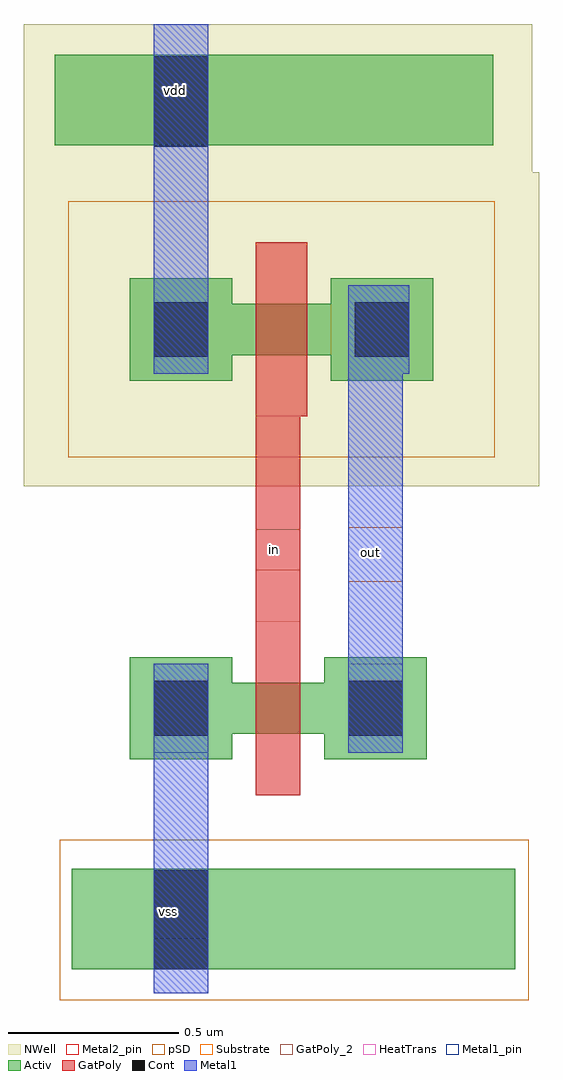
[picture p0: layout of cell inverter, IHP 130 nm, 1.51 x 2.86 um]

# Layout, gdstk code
import gdstk
lib = gdstk.Library(unit=1e-6, precision=5e-09)
def R(c, l, rs):  # rectangles x0, y0, x1, y1
    for r in rs: c.add(gdstk.rectangle(r[:2], r[2:], *l))
Activ = (1, 0)
GatPoly = (5, 0)
GatPoly_2 = (5, 2)
Cont = (6, 0)
Metal1 = (8, 0)
Metal1_pin = (8, 2)
Metal2_pin = (10, 2)
pSD = (14, 0)
NWell = (31, 0)
Substrate = (40, 0)
HeatTrans = (51, 0)

nmos_1 = lib.new_cell('nmos$1')
R(nmos_1, Activ, [(0,0,0.3,0.3), (0.57,0,0.87,0.3), (0,0.075,0.87,0.225)])
R(nmos_1, GatPoly, [(0.37,-0.105,0.5,0.405)])
R(nmos_1, GatPoly_2, [(0.37,-0.105,0.5,0.405)])
R(nmos_1, Cont, [(0.07,0.07,0.23,0.23), (0.64,0.07,0.8,0.23)])
R(nmos_1, Metal1, [(0.07,0.02,0.23,0.28), (0.64,0.02,0.8,0.28)])
R(nmos_1, Metal1_pin, [(0.07,0.02,0.23,0.28), (0.64,0.02,0.8,0.28)])
R(nmos_1, HeatTrans, [(0.37,-0.105,0.5,0.405)])
nmos_1.add(gdstk.Label('nmos', (0.435,0.15), layer=63, texttype=0))
nmos_1.add(gdstk.Label('nmos', (0.435,0.15), layer=51, texttype=0))

pmos = lib.new_cell('pmos')
R(pmos, Activ, [(0,0,0.3,0.3), (0.59,0,0.89,0.3), (0,0.075,0.89,0.225)])
R(pmos, GatPoly, [(0.37,-0.105,0.52,0.405), (0.37,-0.105,0.52,0.405)])
R(pmos, Cont, [(0.07,0.07,0.23,0.23), (0.66,0.07,0.82,0.23)])
R(pmos, Metal1, [(0.07,0.02,0.23,0.28), (0.07,0.02,0.23,0.28), (0.66,0.02,0.82,0.28), (0.66,0.02,0.82,0.28)])
R(pmos, pSD, [(-0.18,-0.225,1.07,0.525)])
R(pmos, NWell, [(-0.31,-0.31,1.2,0.61)])
R(pmos, Substrate, [(0.59,0,0.89,0.3)])
R(pmos, HeatTrans, [(0.37,-0.105,0.52,0.405)])
pmos.add(gdstk.Label('pmos', (0.445,0.15), layer=63, texttype=0))
pmos.add(gdstk.Label('pmos', (0.445,0.15), layer=51, texttype=0))

inverter = lib.new_cell('inverter')
R(inverter, Activ, [(-0.015,-0.815,1.285,-0.52), (-0.065,1.6,1.22,1.865)])
R(inverter, GatPoly, [(0.525,0.205,0.655,0.805)])
R(inverter, GatPoly_2, [(0.525,0.355,0.655,0.475)])
R(inverter, Cont, [(0.225,-0.815,0.385,-0.525), (0.225,1.595,0.385,1.86)])
R(inverter, Metal1, [(0.225,-0.885,0.385,0.08), (0.795,-0.18,0.955,1.19), (0.225,0.93,0.385,1.955)])
R(inverter, Metal1_pin, [(0.225,-0.725,0.385,-0.52), (0.225,1.595,0.385,1.865)])
R(inverter, Metal2_pin, [(0.795,0.32,0.955,0.48)])
R(inverter, pSD, [(-0.05,-0.905,1.325,-0.435)])
R(inverter, NWell, [(-0.155,1.52,1.335,1.955)])
inverter.add(gdstk.Reference(nmos_1, (0.155,-0.2)))
inverter.add(gdstk.Reference(pmos, (0.155,0.91)))
inverter.add(gdstk.Label('vdd', (0.29,1.76), layer=8, texttype=2))
inverter.add(gdstk.Label('vss', (0.27,-0.645), layer=8, texttype=2))
inverter.add(gdstk.Label('in', (0.58,0.415), layer=5, texttype=2))
inverter.add(gdstk.Label('out', (0.86,0.405), layer=10, texttype=2))

lib.write_gds('inverter.gds')
